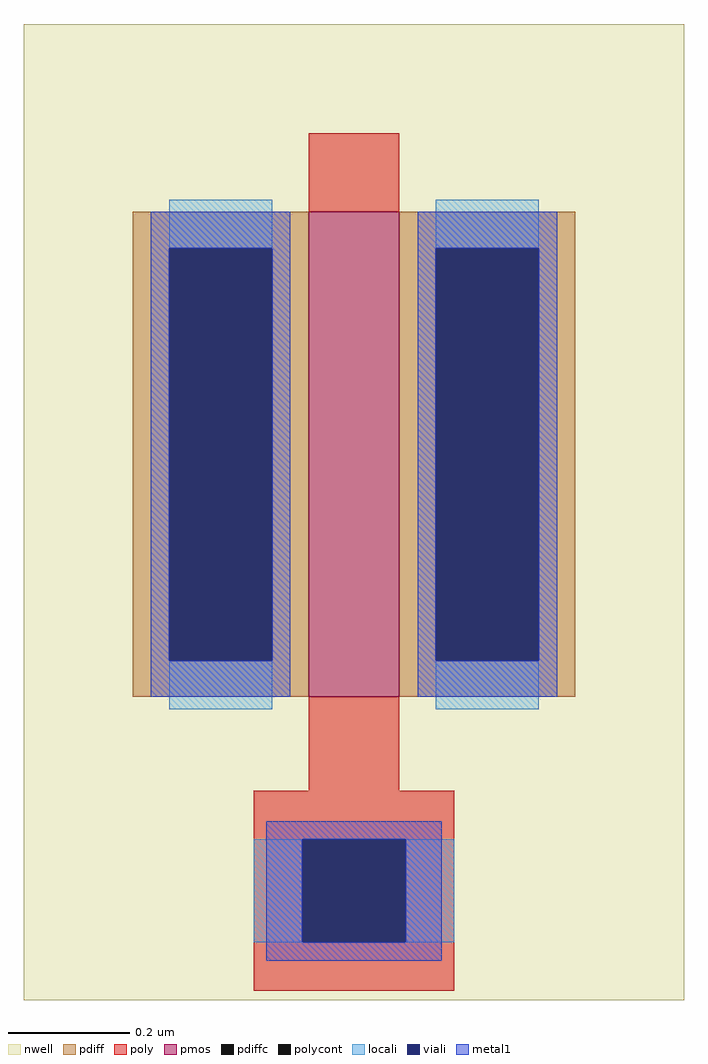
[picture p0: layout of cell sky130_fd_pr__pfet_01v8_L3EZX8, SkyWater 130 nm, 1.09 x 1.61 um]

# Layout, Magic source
magic
tech sky130A
magscale 1 2
<< nwell >>
rect -109 -144 109 178
<< pmos >>
rect -15 -44 15 116
<< pdiff >>
rect -73 104 -15 116
rect -73 -32 -61 104
rect -27 -32 -15 104
rect -73 -44 -15 -32
rect 15 104 73 116
rect 15 -32 27 104
rect 61 -32 73 104
rect 15 -44 73 -32
<< pdiffc >>
rect -61 -32 -27 104
rect 27 -32 61 104
<< poly >>
rect -15 116 15 142
rect -15 -75 15 -44
rect -33 -91 33 -75
rect -33 -125 -17 -91
rect 17 -125 33 -91
rect -33 -141 33 -125
<< polycont >>
rect -17 -125 17 -91
<< locali >>
rect -61 104 -27 120
rect -61 -48 -27 -32
rect 27 104 61 120
rect 27 -48 61 -32
rect -33 -125 -17 -91
rect 17 -125 33 -91
<< viali >>
rect -61 -32 -27 104
rect 27 -32 61 104
rect -17 -125 17 -91
<< metal1 >>
rect -67 104 -21 116
rect -67 -32 -61 104
rect -27 -32 -21 104
rect -67 -44 -21 -32
rect 21 104 67 116
rect 21 -32 27 104
rect 61 -32 67 104
rect 21 -44 67 -32
rect -29 -91 29 -85
rect -29 -125 -17 -91
rect 17 -125 29 -91
rect -29 -131 29 -125
<< properties >>
string gencell sky130_fd_pr__pfet_01v8
string parameters w 0.8 l 0.15 m 1 nf 1 diffcov 100 polycov 100 guard 0 glc 0 grc 0 gtc 0 gbc 0 tbcov 100 rlcov 100 topc 0 botc 1 poverlap 0 doverlap 0 lmin 0.15 wmin 0.42 compatible {sky130_fd_pr__pfet_01v8  sky130_fd_pr__pfet_01v8_lvt sky130_fd_pr__pfet_01v8_hvt  sky130_fd_pr__pfet_g5v0d10v5} full_metal 0 viasrc 100 viadrn 100 viagate 100 viagb 0 viagr 0 viagl 0 viagt 0
string library sky130
<< end >>
